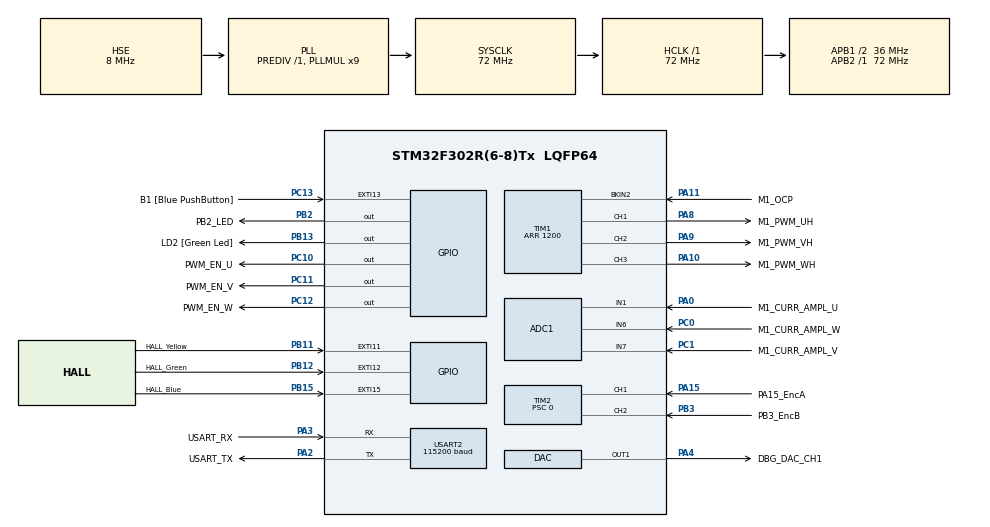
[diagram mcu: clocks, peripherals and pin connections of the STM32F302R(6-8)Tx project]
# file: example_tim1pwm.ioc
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ADC1.ClockPrescaler=ADC_CLOCK_SYNC_PCLK_DIV1
ADC1.ContinuousConvMode=DISABLE
ADC1.DMAContinuousRequests=DISABLE
ADC1.DataAlign=ADC_DATAALIGN_LEFT
ADC1.EOCSelection=ADC_EOC_SEQ_CONV
ADC1.EnableRegularConversion=DISABLE
ADC1.ExternalTrigInjecConv=ADC_EXTERNALTRIGINJECCONV_T1_TRGO
ADC1.InjNumberOfConversion=3
ADC1.InjectedChannel-3\#ChannelInjectedConversion=ADC_CHANNEL_1
ADC1.InjectedChannel-4\#ChannelInjectedConversion=ADC_CHANNEL_7
ADC1.InjectedChannel-5\#ChannelInjectedConversion=ADC_CHANNEL_6
ADC1.InjectedOffset-3\#ChannelInjectedConversion=0
ADC1.InjectedOffset-4\#ChannelInjectedConversion=0
ADC1.InjectedOffset-5\#ChannelInjectedConversion=0
ADC1.InjectedOffsetNumber-3\#ChannelInjectedConversion=ADC_OFFSET_NONE
ADC1.InjectedOffsetNumber-4\#ChannelInjectedConversion=ADC_OFFSET_NONE
ADC1.InjectedOffsetNumber-5\#ChannelInjectedConversion=ADC_OFFSET_NONE
ADC1.InjectedRank-3\#ChannelInjectedConversion=1
ADC1.InjectedRank-4\#ChannelInjectedConversion=2
ADC1.InjectedRank-5\#ChannelInjectedConversion=3
ADC1.InjectedSamplingTime-3\#ChannelInjectedConversion=ADC_SAMPLETIME_19CYCLES_5
ADC1.InjectedSamplingTime-4\#ChannelInjectedConversion=ADC_SAMPLETIME_19CYCLES_5
ADC1.InjectedSamplingTime-5\#ChannelInjectedConversion=ADC_SAMPLETIME_19CYCLES_5
ADC1.InjectedSamplingTimeOPAMP-3\#ChannelInjectedConversion=ADC_SAMPLETIME_61CYCLES_5
ADC1.InjectedSamplingTimeOPAMP-4\#ChannelInjectedConversion=ADC_SAMPLETIME_61CYCLES_5
ADC1.InjectedSamplingTimeOPAMP-5\#ChannelInjectedConversion=ADC_SAMPLETIME_61CYCLES_5
ADC1.Overrun=ADC_OVR_DATA_PRESERVED
ADC1.QueueInjectedContext=DISABLE
ADC1.Rank1_Channel=ADC_CHANNEL_1
ADC1.Rank2_Channel=ADC_CHANNEL_7
ADC1.Rank3_Channel=ADC_CHANNEL_6
ADC1.Rank4_Channel=ADC_CHANNEL_1
ADC1.SubFamily=STM32F302x8
ADC1.master=1
DAC.DAC_OutputBuffer=DAC_OUTPUTBUFFER_DISABLE
DAC.DAC_Trigger=DAC_TRIGGER_SOFTWARE
Mcu.Family=STM32F3
Mcu.Name=STM32F302R(6-8)Tx
Mcu.Package=LQFP64
NVIC.ADC1_IRQn=true\:0\:0\:true\:false\:true\:true\:true
NVIC.EXTI15_10_IRQn=true\:0\:0\:true\:false\:true\:true\:true
NVIC.PriorityGroup=NVIC_PRIORITYGROUP_3
NVIC.TIM1_BRK_TIM15_IRQn=true\:0\:0\:true\:false\:true\:true\:true
NVIC.TIM1_UP_TIM16_IRQn=true\:0\:0\:false\:false\:true\:true\:true
NVIC.TIM2_IRQn=true\:0\:0\:true\:false\:true\:true\:true
PA0.GPIO_Label=M1_CURR_AMPL_U
PA0.Mode=IN1-Single-Ended
PA0.Signal=ADC1_IN1
PA10.GPIO_Label=M1_PWM_WH
PA10.GPIO_PuPd=GPIO_PULLDOWN
PA10.GPIO_Speed=GPIO_SPEED_FREQ_HIGH
PA10.Signal=S_TIM1_CH3
PA11.GPIO_Label=M1_OCP
PA11.GPIO_PuPd=GPIO_PULLUP
PA11.Mode=Activate-Break-Input-2
PA11.Signal=TIM1_BKIN2
PA13.GPIO_Label=TMS
PA13.Signal=SYS_JTMS-SWDIO
PA14.GPIO_Label=TCK
PA14.Signal=SYS_JTCK-SWCLK
PA15.GPIO_Label=PA15_EncA
PA15.Signal=S_TIM2_CH1_ETR
PA2.GPIO_Label=USART_TX
PA2.GPIO_Mode=GPIO_MODE_AF_PP
PA2.GPIO_PuPd=GPIO_NOPULL
PA2.GPIO_Speed=GPIO_SPEED_FREQ_LOW
PA2.Mode=Asynchronous
PA2.Signal=USART2_TX
PA3.GPIO_Label=USART_RX
PA3.GPIO_Mode=GPIO_MODE_AF_PP
PA3.GPIO_PuPd=GPIO_NOPULL
PA3.GPIO_Speed=GPIO_SPEED_FREQ_LOW
PA3.Mode=Asynchronous
PA3.Signal=USART2_RX
PA4.GPIO_Label=DBG_DAC_CH1
PA4.Signal=COMP_DAC1_group
PA8.GPIO_Label=M1_PWM_UH
PA8.GPIO_PuPd=GPIO_PULLDOWN
PA8.GPIO_Speed=GPIO_SPEED_FREQ_HIGH
PA8.Signal=S_TIM1_CH1
PA9.GPIO_Label=M1_PWM_VH
PA9.GPIO_PuPd=GPIO_PULLDOWN
PA9.GPIO_Speed=GPIO_SPEED_FREQ_HIGH
PA9.Signal=S_TIM1_CH2
PB11.GPIO_Label=HALL_Yellow
PB11.GPIO_ModeDefaultEXTI=GPIO_MODE_IT_RISING_FALLING
PB11.Signal=GPXTI11
PB12.GPIO_Label=HALL_Green
PB12.GPIO_ModeDefaultEXTI=GPIO_MODE_IT_RISING_FALLING
PB12.GPIO_PuPd=GPIO_NOPULL
PB12.Signal=GPXTI12
PB13.GPIO_Label=LD2 [Green Led]
PB13.Signal=GPIO_Output
PB15.GPIO_Label=HALL_Blue
PB15.GPIO_ModeDefaultEXTI=GPIO_MODE_IT_RISING_FALLING
PB15.Signal=GPXTI15
PB2.GPIO_Label=PB2_LED
PB2.Signal=GPIO_Output
PB3.GPIO_Label=PB3_EncB
PB3.Signal=S_TIM2_CH2
PC0.GPIO_Label=M1_CURR_AMPL_W
PC0.Signal=ADCx_IN6
PC1.GPIO_Label=M1_CURR_AMPL_V
PC1.GPIO_Mode=GPIO_MODE_ANALOG
PC1.Signal=ADCx_IN7
PC10.GPIO_Label=PWM_EN_U
PC10.GPIO_Speed=GPIO_SPEED_FREQ_HIGH
PC10.Signal=GPIO_Output
PC11.GPIO_Label=PWM_EN_V
PC11.GPIO_Speed=GPIO_SPEED_FREQ_HIGH
PC11.Signal=GPIO_Output
PC12.GPIO_Label=PWM_EN_W
PC12.GPIO_Speed=GPIO_SPEED_FREQ_HIGH
PC12.Signal=GPIO_Output
PC13.GPIO_Label=B1 [Blue PushButton]
PC13.GPIO_ModeDefaultEXTI=GPIO_MODE_IT_FALLING
PC13.Signal=GPXTI13
PC14\ -\ OSC32_IN.Signal=RCC_OSC32_IN
PC15\ -\ OSC32_OUT.Signal=RCC_OSC32_OUT
PF0-OSC_IN.Mode=HSE-External-Oscillator
PF0-OSC_IN.Signal=RCC_OSC_IN
PF1-OSC_OUT.Mode=HSE-External-Oscillator
PF1-OSC_OUT.Signal=RCC_OSC_OUT
ProjectManager.HeapSize=0x200
ProjectManager.StackSize=0x400
ProjectManager.TargetToolchain=STM32CubeIDE
RCC.AHBFreq_Value=72000000
RCC.APB1CLKDivider=RCC_HCLK_DIV2
RCC.APB1Freq_Value=36000000
RCC.APB1TimFreq_Value=72000000
RCC.APB2Freq_Value=72000000
RCC.APB2TimFreq_Value=72000000
RCC.CortexFreq_Value=72000000
RCC.HCLKFreq_Value=72000000
RCC.HSE_VALUE=8000000
RCC.HSI_VALUE=8000000
RCC.LSE_VALUE=32768
RCC.PLLM=8
RCC.PLLMUL=RCC_PLL_MUL9
RCC.PLLN=336
RCC.PLLP=RCC_PLLP_DIV4
RCC.PLLQ=7
RCC.PLLSourceVirtual=RCC_PLLSOURCE_HSE
RCC.SYSCLKFreq_VALUE=72000000
RCC.SYSCLKSourceVirtual=RCC_SYSCLKSOURCE_PLLCLK
RCC.USBFreq_Value=72000000
SH.ADCx_IN6.0=ADC1_IN6,IN6-Single-Ended
SH.ADCx_IN7.0=ADC1_IN7,IN7-Single-Ended
SH.COMP_DAC1_group.0=DAC_OUT1,DAC_OUT1
SH.S_TIM1_CH1.0=TIM1_CH1,PWM Generation1 CH1
SH.S_TIM1_CH2.0=TIM1_CH2,PWM Generation2 CH2
SH.S_TIM1_CH3.0=TIM1_CH3,PWM Generation3 CH3
SH.S_TIM2_CH1_ETR.0=TIM2_CH1,Encoder_Interface
SH.S_TIM2_CH2.0=TIM2_CH2,Encoder_Interface
TIM1.AutoReloadPreload=TIM_AUTORELOAD_PRELOAD_DISABLE
TIM1.Break2Filter=7
TIM1.Break2Polarity=TIM_BREAK2POLARITY_LOW
TIM1.Channel-PWM\ Generation1\ CH1=TIM_CHANNEL_1
TIM1.Channel-PWM\ Generation2\ CH2=TIM_CHANNEL_2
TIM1.Channel-PWM\ Generation3\ CH3=TIM_CHANNEL_3
TIM1.Channel-PWM\ Generation4\ No\ Output=TIM_CHANNEL_4
TIM1.ClockDivision=TIM_CLOCKDIVISION_DIV1
TIM1.CounterMode=TIM_COUNTERMODE_CENTERALIGNED1
TIM1.LockLevel=TIM_LOCKLEVEL_1
TIM1.OCMode_PWM-PWM\ Generation4\ No\ Output=TIM_OCMODE_PWM2
TIM1.Period=1200
TIM1.Pulse-PWM\ Generation1\ CH1=1200
TIM1.Pulse-PWM\ Generation2\ CH2=1200
TIM1.Pulse-PWM\ Generation3\ CH3=1200
TIM1.Pulse-PWM\ Generation4\ No\ Output=1199
TIM1.RepetitionCounter=1
TIM1.TIM_MasterOutputTrigger=TIM_TRGO_OC4REF
TIM2.AutoReloadPreload=TIM_AUTORELOAD_PRELOAD_ENABLE
TIM2.CounterMode=TIM_COUNTERMODE_UP
TIM2.EncoderMode=TIM_ENCODERMODE_TI12
TIM2.IC1Filter=7
TIM2.IC2Filter=7
TIM2.IC2Polarity=TIM_ICPOLARITY_FALLING
TIM2.Period=3199
TIM2.Prescaler=0
TIM6.AutoReloadPreload=TIM_AUTORELOAD_PRELOAD_ENABLE
TIM6.Period=30000
USART2.BaudRate=115200
USART2.VirtualMode-Asynchronous=VM_ASYNC
VP_TIM1_VS_ClockSourceITR.Mode=TriggerSource_ITR1
VP_TIM1_VS_ControllerModeTrigger.Mode=Trigger Mode
VP_TIM1_VS_no_output4.Mode=PWM Generation4 No Output
VP_TIM6_VS_ClockSourceINT.Mode=Enable_Timer
board=NUCLEO-F302R8

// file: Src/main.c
/* USER CODE BEGIN Header */
/**
  ******************************************************************************
  * @file           : main.c
  * @brief          : Main program body
  ******************************************************************************
  * @attention
  *
  * <h2><center>&copy; Copyright (c) 2020 STMicroelectronics.
  * All rights reserved.</center></h2>
  *
  * This software component is licensed by ST under BSD 3-Clause license,
  * the "License"; You may not use this file except in compliance with the
  * License. You may obtain a copy of the License at:
  *                        opensource.org/licenses/BSD-3-Clause
  *
  ******************************************************************************
  */
//11th Jan - replaced PA15/PB5 (EncA/EncB) GPIO interrupts with TIM2 Encoder code.

/* USER CODE END Header */
#include "main.h"

/* USER CODE BEGIN Includes */
#include <stdio.h>
#include <string.h>
#include <math.h>
/* USER CODE END Includes */

/* USER CODE BEGIN PD */
#define USER_TIM_PERIOD 1200//57600// 600//1200
#define M_PI 3.14159265358979323846
#define I_MAX 300
#define ADC_CHANNELS 3
#define RISING 1
#define FALLING 0
#define HIGH 1
#define LOW 0
#define DEGREE_120 85
#define DEGREE_120_HIRES 21845//21760 //(85*256)
#define ADC_TIMEOUT 10e-6 //timeout for adc conversion event. Be mindful that we have a PWM freq of 30kHz, which is 33us between pulses.
//motor modes
#define STOPPED 0
#define TRACKING 1
#define DOING 2 //this badly named mode implies that the motor is tracking to a list of encoder positions, simulating engine operation
#define INIT 3 //initialise motor zero position using encoder and hall sensors

#define ADC_HALF_RANGE 32768
#define VCC_DIV_2 1.65
#define AMP_V_BIAS 1.559
#define AMP_GAIN 1.528

//#define ENC_TO_THETA 0.001963495 //for a single pole pair
#define ENC_TO_THETA 0.002748894 //for 14 pole pairs
/* USER CODE END PD */

ADC_HandleTypeDef hadc1;

DAC_HandleTypeDef hdac;

TIM_HandleTypeDef htim1;
TIM_HandleTypeDef htim2;
TIM_HandleTypeDef htim6;

UART_HandleTypeDef huart2;

void SystemClock_Config(void);
static void MX_GPIO_Init(void);
static void MX_TIM1_Init(void);
static void MX_USART2_UART_Init(void);
static void MX_ADC1_Init(void);
static void MX_TIM2_Init(void);
static void MX_DAC_Init(void);
static void MX_TIM6_Init(void);
/* USER CODE BEGIN PFP */
void motor_error(void);
void motor_disable(void);
void motor_enable(void);
void motor_init(void);
void av_to_current(void);
void motor_move(void);
void motor_move_foc(void);
void current_meas(void);
void motor_current_cal(void);

//HALL State:
enum hall_states {S1=1, S2, S3, S4, S5, S6};
char hall_state = -1; // i.e. not set yet

void motor_set_duty(void);
void motor_set_duty2(void); //setting the PWM duty based on sin lookup table
int MOTOR_MODE = STOPPED;
volatile int which_half = 0;
int average = 0;
int average1 = 0;
int average2 = 0;
int average3 = 0;
int av[3];
int duty = 0;
int I_qui = 0;
float phaseindex = M_PI;
int dutyU = 0;
int dutyV = 0;
int dutyW = 0;
int dutycalpoint_low = 0;
int dutycalpoint_high = 0;
int I_mA = 0;
int err_max_current = 0;
int err_no_motor = 0;
int curr[3];
float av_curr = 0;
int wanted_encoder_count = 0;
float vel = 0.0;

//sine array values lookup table: LEN = 256
//volatile unsigned char sine_array_index = 0;

//unsigned char sine_array[256]=
//{133,139,144,149,155,160,165,170,175,180,185,189,194,198,203,207,211,214,218,221,225,228,231,233,
//236,238,241,243,244,246,248,249,250,251,252,253,254,254,254,255,255,255,255,255,255,255,254,254,
//254,254,253,253,252,252,252,252,251,251,251,251,250,250,250,250,250,250,250,251,251,251,251,252,
//252,252,252,253,253,254,254,254,254,255,255,255,255,255,255,255,254,254,254,253,252,251,250,249,
//248,246,244,243,241,238,236,233,231,228,225,221,218,214,211,207,203,198,194,189,185,180,175,170,
//165,160,155,149,144,139,133,128,123,117,112,107,101,96,91,86,81,76,71,67,62,58,53,49,45,42,38,
//35,31,28,25,23,20,18,15,13,12,10,8,7,6,5,4,3,2,2,2,1,1,1,1,1,1,1,2,2,2,2,3,3,4,4,4,4,5,5,5,5,6,
//6,6,6,6,6,6,5,5,5,5,4,4,4,4,3,3,2,2,2,2,1,1,1,1,1,1,1,2,2,2,3,4,5,6,7,8,10,12,13,15,18,20,23,25,
//28,31,35,38,42,45,49,53,58,62,67,71,76,81,86,91,96,101,107,112,117,123,128};

short int sine_array[1024] = {0,3,7,11,14,18,22,25,29,33,36,40,44,47,51,55,58,62,66,69,73,77,80,84,88,
		91,95,98,102,106,109,113,117,120,124,127,131,135,138,142,145,149,152,156,160,163,167,170,174,
		177,181,184,188,191,195,198,202,205,209,212,215,219,222,226,229,233,236,239,243,246,249,253,
		256,259,263,266,269,273,276,279,282,286,289,292,295,298,302,305,308,311,314,317,321,324,327,
		330,333,336,339,342,345,348,351,354,357,360,363,366,369,372,374,377,380,383,386,389,391,394,
		397,400,402,405,408,411,413,416,419,421,424,426,429,432,434,437,439,442,444,447,449,451,454,
		456,459,461,463,466,468,470,473,475,477,479,481,484,486,488,490,492,494,496,498,500,502,504,
		506,508,510,512,514,516,518,520,522,523,525,527,529,530,532,534,535,537,539,540,542,543,545,
		547,548,550,551,552,554,555,557,558,559,561,562,563,564,566,567,568,569,570,572,573,574,575,
		576,577,578,579,580,581,582,582,583,584,585,586,587,587,588,589,589,590,591,591,592,592,593,
		594,594,595,595,595,596,596,597,597,597,598,598,598,598,599,599,599,599,599,599,599,599,600,
		600,599,599,599,599,599,599,599,599,598,598,598,598,597,597,597,596,596,595,595,595,594,594,
		593,592,592,591,591,590,589,589,588,587,587,586,585,584,583,582,582,581,580,579,578,577,576,
		575,574,573,572,570,569,568,567,566,564,563,562,561,559,558,557,555,554,552,551,550,548,547,
		545,543,542,540,539,537,535,534,532,530,529,527,525,523,522,520,518,516,514,512,510,508,506,
		504,502,500,498,496,494,492,490,488,486,484,481,479,477,475,473,470,468,466,463,461,459,456,
		454,451,449,447,444,442,439,437,434,432,429,426,424,421,419,416,413,411,408,405,402,400,397,
		394,391,389,386,383,380,377,374,372,369,366,363,360,357,354,351,348,345,342,339,336,333,330,
		327,324,321,317,314,311,308,305,302,298,295,292,289,286,282,279,276,273,269,266,263,259,256,
		253,249,246,243,239,236,233,229,226,222,219,215,212,209,205,202,198,195,191,188,184,181,177,
		174,170,167,163,160,156,152,149,145,142,138,135,131,127,124,120,117,113,109,106,102,98,95,91,
		88,84,80,77,73,69,66,62,58,55,51,47,44,40,36,33,29,25,22,18,14,11,7,3,0,-4,-8,-12,-15,-19,-23,
		-26,-30,-34,-37,-41,-45,-48,-52,-56,-59,-63,-67,-70,-74,-78,-81,-85,-89,-92,-96,-99,-103,-107,
		-110,-114,-118,-121,-125,-128,-132,-136,-139,-143,-146,-150,-153,-157,-161,-164,-168,-171,-175,
		-178,-182,-185,-189,-192,-196,-199,-203,-206,-210,-213,-216,-220,-223,-227,-230,-234,-237,-240,
		-244,-247,-250,-254,-257,-260,-264,-267,-270,-274,-277,-280,-283,-287,-290,-293,-296,-299,-303,
		-306,-309,-312,-315,-318,-322,-325,-328,-331,-334,-337,-340,-343,-346,-349,-352,-355,-358,-361,
		-364,-367,-370,-373,-375,-378,-381,-384,-387,-390,-392,-395,-398,-401,-403,-406,-409,-412,-414,
		-417,-420,-422,-425,-427,-430,-433,-435,-438,-440,-443,-445,-448,-450,-452,-455,-457,-460,-462,
		-464,-467,-469,-471,-474,-476,-478,-480,-482,-485,-487,-489,-491,-493,-495,-497,-499,-501,-503,
		-505,-507,-509,-511,-513,-515,-517,-519,-521,-523,-524,-526,-528,-530,-531,-533,-535,-536,-538,
		-540,-541,-543,-544,-546,-548,-549,-551,-552,-553,-555,-556,-558,-559,-560,-562,-563,-564,-565,
		-567,-568,-569,-570,-571,-573,-574,-575,-576,-577,-578,-579,-580,-581,-582,-583,-583,-584,-585,
		-586,-587,-588,-588,-589,-590,-590,-591,-592,-592,-593,-593,-594,-595,-595,-596,-596,-596,-597,
		-597,-598,-598,-598,-599,-599,-599,-599,-600,-600,-600,-600,-600,-600,-600,-600,-600,-600,-600,
		-600,-600,-600,-600,-600,-600,-600,-599,-599,-599,-599,-598,-598,-598,-597,-597,-596,-596,-596,
		-595,-595,-594,-593,-593,-592,-592,-591,-590,-590,-589,-588,-588,-587,-586,-585,-584,-583,-583,
		-582,-581,-580,-579,-578,-577,-576,-575,-574,-573,-571,-570,-569,-568,-567,-565,-564,-563,-562,
		-560,-559,-558,-556,-555,-553,-552,-551,-549,-548,-546,-544,-543,-541,-540,-538,-536,-535,-533,
		-531,-530,-528,-526,-524,-523,-521,-519,-517,-515,-513,-511,-509,-507,-505,-503,-501,-499,-497,
		-495,-493,-491,-489,-487,-485,-482,-480,-478,-476,-474,-471,-469,-467,-464,-462,-460,-457,-455,
		-452,-450,-448,-445,-443,-440,-438,-435,-433,-430,-427,-425,-422,-420,-417,-414,-412,-409,-406,
		-403,-401,-398,-395,-392,-390,-387,-384,-381,-378,-375,-373,-370,-367,-364,-361,-358,-355,-352,
		-349,-346,-343,-340,-337,-334,-331,-328,-325,-322,-318,-315,-312,-309,-306,-303,-299,-296,-293,
		-290,-287,-283,-280,-277,-274,-270,-267,-264,-260,-257,-254,-250,-247,-244,-240,-237,-234,-230,
		-227,-223,-220,-216,-213,-210,-206,-203,-199,-196,-192,-189,-185,-182,-178,-175,-171,-168,-164,
		-161,-157,-153,-150,-146,-143,-139,-136,-132,-128,-125,-121,-118,-114,-110,-107,-103,-99,-96,-92,
		-89,-85,-81,-78,-74,-70,-67,-63,-59,-56,-52,-48,-45,-41,-37,-34,-30,-26,-23,-19,-15,-12,-8,-4,0
};

////for motor tracking to simulate engine rotation:
//int pos_counter = 0;

//int lookup_encoder_pos[] = {0, -100, -400, -500, -750, -1000};
//int LEN = 670;
//int cycles = 0; //for debugging, number of rotations to do before stopping
//float max_delta_phase = 0.024; //radians
//float delta_t = 1.49e-3; // [s] (1/671)
//float delta_angle = (2*M_PI)/3200;

//debugging variables:
//int arr_i[I_MAX];
//int arr_adc[I_MAX];
//int arr_adc1[I_MAX];
//int arr_adc2[I_MAX];
//int arr_adc3[I_MAX];
//int arr_duty[I_MAX];
//int arr_ImA[I_MAX];
/* USER CODE END PFP */

/* USER CODE BEGIN 0 */
int dummyphaseindex = 0;
int sine_idx = 0;
int phaseU = 0;
int phaseV = 0;
int phaseW = 0;

unsigned int encoder_time = 0;
unsigned int encoder_ticks = 0;
unsigned int encoder_rotations = 0;

volatile unsigned short cur1 = 0;
volatile unsigned short cur2 = 0;
volatile unsigned short cur3 = 0;

float v1, v2, v3;
float curr_fdbk1, curr_fdbk2, curr_fdbk3;
float tmp = 0;
float curr_alpha, curr_beta;
//float curr_alpha2, curr_beta2;
//float curr_alpha3, curr_beta3;
//float curr_alpha4, curr_beta4;
//float curr_alpha5, curr_beta5;
//float curr_alpha6, curr_beta6;
float curr_d, curr_q;
//float curr_d2, curr_q2;
//float curr_d3, curr_q3;
//float curr_d4, curr_q4;
//float curr_d5, curr_q5;
//float curr_d6, curr_q6;
float theta;
float Iu_QUIESCENT_mA, Iv_QUIESCENT_mA, Iw_QUIESCENT_mA;

//PI controller for Iq:
float sum_PI_Iq = 0;
float Iq_Kp = 0.1;//576;
float Iq_Ki = 0.01;
float Iq_Kc = 0.1;
float PI_Vq = 0;
float Iq_ref = 200;

//PI controller for Id:
float sum_PI_Id = 0;
float Id_Kp = 0.1;//576;
float Id_Ki = 0.01;
float Id_Kc = 0.1;
float PI_Vd = 0;
float Id_ref = 0;

//PI controller for speed:
float sum_PI_speed = 0;
float speed_Kp = 0.24;
float speed_Ki = 0.24;
float speed_Kc = 0.5;
float PI_speed = 0;
float speed_ref = 0.5; //Units?

//inverse transforms from Vq/Vd to Va/b/c:
float Va, Vb, Vc;

//debug:
float max_PI_Vd = 0;
float min_PI_Vd = 0;
float max_PI_Vq = 0;
float min_PI_Vq = 0;

float max_Va = 0;
float min_Va = 0;
float max_Vb = 0;
float min_Vb = 0;
float max_Vc = 0;
float min_Vc = 0;

//speed measurements:
int old_pos, new_pos;
float speed = 0;
idx = 0;

void current_meas(void) { //converting ADC samples into curr_fdbk measurements
	v1 = (float)cur1 / ADC_HALF_RANGE * VCC_DIV_2;
	curr_fdbk1 = (float)(v1 - AMP_V_BIAS) / AMP_GAIN * 1000 - Iu_QUIESCENT_mA;
//
	v2 = (float)cur2 / ADC_HALF_RANGE * VCC_DIV_2;
	curr_fdbk2 = (float)(v2 - AMP_V_BIAS) / AMP_GAIN * 1000 - Iv_QUIESCENT_mA;

	v3 = (float)cur3 / ADC_HALF_RANGE * VCC_DIV_2;
	curr_fdbk3 = (float)(v3 - AMP_V_BIAS) / AMP_GAIN * 1000 - Iw_QUIESCENT_mA;

	tmp = curr_fdbk1 + curr_fdbk2 + curr_fdbk3;

	//1 - AB
	curr_alpha = curr_fdbk1;
	curr_beta = 0.57735 * curr_fdbk1 + (0.57735 * curr_fdbk3 * 2);
//	//2 - AC
//	curr_alpha2 = curr_fdbk1;
//	curr_beta2 = 0.57735 * curr_fdbk1 + (0.57735 * curr_fdbk3 * 2);
//	//3 - BC
//	curr_alpha3 = curr_fdbk2;
//	curr_beta3 = 0.57735 * curr_fdbk2 + (0.57735 * curr_fdbk3 * 2);
//	//4 - BA
//	curr_alpha4 = curr_fdbk2;
//	curr_beta4 = 0.57735 * curr_fdbk2 + (0.57735 * curr_fdbk1 * 2);
//	//5 - CA
//	curr_alpha5 = curr_fdbk3;
//	curr_beta5 = 0.57735 * curr_fdbk3 + (0.57735 * curr_fdbk1 * 2);
//	//6 - CB
//	curr_alpha6 = curr_fdbk3;
//	curr_beta6 = 0.57735 * curr_fdbk3 + (0.57735 * curr_fdbk2 * 2);

	//theta = TIM2->CNT * ENC_TO_THETA;
	//normalise theta to between 0 and 2*pi
	theta = fmod((float)TIM2->CNT,(float)228.571)*0.0274889;

	//1
	curr_d = curr_alpha * cos(theta) + curr_beta * sin(theta);
	curr_q = -curr_alpha*sin(theta) + curr_beta*cos(theta);
//	//2
//	curr_d2 = curr_alpha2 * cos(theta) + curr_beta2 * sin(theta);
//	curr_q2 = -curr_alpha2*sin(theta) + curr_beta2*cos(theta);
//	//3
//	curr_d3 = curr_alpha3 * cos(theta) + curr_beta3 * sin(theta);
//	curr_q3 = -curr_alpha3*sin(theta) + curr_beta3*cos(theta);
//	//4
//	curr_d4 = curr_alpha4 * cos(theta) + curr_beta4 * sin(theta);
//	curr_q4 = -curr_alpha4*sin(theta) + curr_beta4*cos(theta);
//	//5
//	curr_d5 = curr_alpha5 * cos(theta) + curr_beta5 * sin(theta);
//	curr_q5 = -curr_alpha5*sin(theta) + curr_beta5*cos(theta);
//	//6
//	curr_d6 = curr_alpha6 * cos(theta) + curr_beta6 * sin(theta);
//	curr_q6 = -curr_alpha6*sin(theta) + curr_beta6*cos(theta);
//
//	if (fabs(curr_q) > 0.5) {
//		return;
//	}
//	else {
		if (MOTOR_MODE == INIT) {//find curr_q = 0, i.e. initialise the position of the motor
			TIM2->CNT = 0;
			Iu_QUIESCENT_mA = curr_fdbk1;
			Iv_QUIESCENT_mA = curr_fdbk2;
			Iw_QUIESCENT_mA = curr_fdbk3;
			new_pos = 0;
			old_pos = 0;
			MOTOR_MODE = TRACKING;
		}
//		return;
//	}
}

//void motor_move(void) {
//
//	int n = 64;
//	current_meas();
//
//	//this works but needs the sine array which is a full "bumpy" sine waveform
////	if (dummyphaseindex % n == 0) {
////		motor_set_duty2();
////		current_meas();
////		sine_array_index += 1;
////	}
//
//	motor_set_duty2();
//	sine_idx += n;
//
//	dummyphaseindex++;
//	if (dummyphaseindex > 15360*3) { //65535*3) {
//		motor_disable();
//		MOTOR_MODE = STOPPED;
//	}
//
//}

float PI_Controller_Iqref(void) {
	float err = Iq_ref - curr_q;//fmod(Iq_ref - curr_q,500); //need to slew rate limit this - add max rate of change
	float u = sum_PI_Iq + Iq_Kp * err;
	float outmax = 4000;// 12000;
	float outmin = -4000;//-12000;
	float out = 0;
	float excess = 0;

	if (u > outmax) {
		out = outmax;
	}
	else if (u < outmin) {
		out = outmin;
	}
	else {
		out = u;
	}
	excess = u - out;
	sum_PI_Iq += Iq_Ki*err - Iq_Kc*excess;
	return sum_PI_Iq;
}

float PI_Controller_Idref(void) {
	float err = Id_ref - curr_d; //need to slew rate limit this - add max rate of change
	float u = sum_PI_Id + Id_Kp * err;
	float outmax = 4000;//12000;
	float outmin = -4000;//-12000;
	float out = 0;
	float excess = 0;

	if (u > outmax) {
		out = outmax;
	}
	else if (u < outmin) {
		out = outmin;
	}
	else {
		out = u;
	}
	excess = u - out;
	sum_PI_Id += Id_Ki*err - Id_Kc*excess;
	return sum_PI_Id;
}

float PI_Controller_Speed_ref(void) {
	//float err = speed_ref - speed; //need to slew rate limit this - add max rate of change
	//float err = (speed_ref - TIM2->CNT);// fmod((speed_ref - TIM2->CNT),50);
	float err = (speed_ref - fmod((float)TIM2->CNT,(float)228.571)*0.0274889);
	float u = sum_PI_speed + speed_Kp * err;
	float outmax = 3.14;
	float outmin = -3.14;
	float out = 0;
	float excess = 0;

	if (u > outmax) {
		out = outmax;
	}
	else if (u < outmin) {
		out = outmin;
	}
	else {
		out = u;
	}
	excess = u - out;
	sum_PI_speed += speed_Ki*err - speed_Kc*excess;
	return sum_PI_speed;
}

void inverse_Clarke_Park(float Vq, float Vd) {
	float V_alpha = Vd * cos(theta) - Vq * sin(theta);
	float V_beta = Vd * sin(theta) + Vq * cos(theta);

	Va = V_alpha;
	Vb = (-V_alpha + sqrt(3)*V_beta)/2;
	Vc = (-V_alpha - sqrt(3)*V_beta)/2;
}

void motor_move_foc(void) {
	//int n = 10;
	current_meas();

	//if in "speed" control, then enable this block
//	if (dummyphaseindex % 240 == 0) {//this is the outer FOC loop for velocity calculations
//		//HAL_GPIO_TogglePin(PB2_LED_GPIO_Port, PB2_LED_Pin);
//		//velocity calc:
//		new_pos = TIM2->CNT;
//		speed = (float)(new_pos - old_pos);
//		speed *= 0.98175;//(TIM2->CCR2-TIM2->CCR1);
//		speed = TIM2->CNT;
//		old_pos = new_pos;
//		if (idx >= 0 && idx < 40) {
//			speed_ref += 10;
//			idx++;
//		}
//		else if (idx >= 40 && idx < 80) {
//			speed_ref -= 10;
//			idx++;
//		}
//		else {
//			idx = 0;
//		}
//	}
//	PI_speed = PI_Controller_Speed_ref();
//	Iq_ref = PI_speed;
	PI_Vq = PI_Controller_Iqref();

//	if (PI_Vq > max_PI_Vq) {
//		max_PI_Vq = PI_Vq;
//	}
//	else if (PI_Vq < min_PI_Vq) {
//		min_PI_Vq = PI_Vq;
//	}
//
	PI_Vd = PI_Controller_Idref();
//	if (PI_Vd > max_PI_Vd) {
//		max_PI_Vd = PI_Vd;
//	}
//	else if (PI_Vd < min_PI_Vd) {
//		min_PI_Vd = PI_Vd;
//	}

	inverse_Clarke_Park(PI_Vq,PI_Vd); //sets values for: Va/Vb/Vc
//	//a phase
//	if (Va > max_Va){
//		max_Va = Va;
//	}
//	else if (Va < min_Va) {
//		min_Va = Va;
//	}
//	//b phase
//	if (Vb > max_Vb){
//		max_Vb = Vb;
//	}
//	else if (Vb < min_Vb) {
//		min_Vb = Vb;
//	}
//	//c phase
//	if (Vc > max_Vc){
//		max_Vc = Vc;
//	}
//	else if (Vc < min_Vc) {
//		min_Vc = Vc;
//	}

	//convert voltages Va/b/c to PWM phases:
	Va += 16384;
	Va *= 0.03662;

	Vb += 16384;
	Vb *= 0.03662;

	Vc += 16384;
	Vc *= 0.03662;

//	if (TIM2->CNT == 3199) { //need to debounce this - get too many rotations
//	   encoder_time += HAL_GetTick();
//	   encoder_ticks = TIM2->CNT;
//	   encoder_rotations++;
//	}

	motor_set_duty3();
//	motor_set_duty2();
//	sine_idx += n;

	dummyphaseindex++;
	if (dummyphaseindex > 49152*6) { //65535*3) {
		motor_disable();
		MOTOR_MODE = STOPPED;
	}
}

void motor_set_duty3(void)
{
	dutyU = (int) Va;
	dutyV = (int) Vb;
	dutyW = (int) Vc;

	TIM1->CCR1 = dutyU;
	TIM1->CCR2 = dutyV;
	TIM1->CCR3 = dutyW;
}

void motor_set_duty2(void)
{
//	dutyU = (USER_TIM_PERIOD/2) + 1*(phaseU - 128);
//	dutyV = (USER_TIM_PERIOD/2) + 1*(phaseV - 128);
//	dutyW = (USER_TIM_PERIOD/2) + 1*(phaseW - 128);
//	unsigned char A = (sine_idx + DEGREE_120)%255;
//	unsigned char B = sine_idx%255;
//	unsigned char C = (sine_idx - DEGREE_120)%255;

	unsigned short int A = ((sine_idx + DEGREE_120_HIRES) >> 6);//8;
	unsigned short int B = ((sine_idx) >> 6);//8;
	unsigned short int C = ((sine_idx - DEGREE_120_HIRES) >> 6);//8;

	int idxA = A % 1024;
	int idxB = B % 1024;
	int idxC = C % 1024;
//	dutyU = (USER_TIM_PERIOD/2) + 1.0*(sine_array[A]-128); //sine_array from -128 to 128
//	dutyV = (USER_TIM_PERIOD/2) + 1.0*(sine_array[B]-128);
//	dutyW = (USER_TIM_PERIOD/2) + 1.0*(sine_array[C]-128);

	//new sine array
	dutyU = (USER_TIM_PERIOD/2) + 0.25*(sine_array[idxA]); //sine_array from -600 to 600
	dutyV = (USER_TIM_PERIOD/2) + 0.25*(sine_array[idxB]);
	dutyW = (USER_TIM_PERIOD/2) + 0.25*(sine_array[idxC]);

	//Write motor phases:
	TIM1->CCR1 = dutyU;
	TIM1->CCR2 = dutyV;
	TIM1->CCR3 = dutyW;
}

void motor_current_cal(void) {
	dutyU = (USER_TIM_PERIOD/2);
	dutyV = (USER_TIM_PERIOD/2);
	dutyW = (USER_TIM_PERIOD/2);

	//Write motor phases:
	TIM1->CCR1 = dutyU;
	TIM1->CCR2 = dutyV;
	TIM1->CCR3 = dutyW;

	current_meas();
}

void motor_enable(void) {

	HAL_GPIO_WritePin(PWM_EN_U_GPIO_Port, PWM_EN_U_Pin, GPIO_PIN_SET);
	HAL_GPIO_WritePin(PWM_EN_V_GPIO_Port, PWM_EN_V_Pin, GPIO_PIN_SET);
	HAL_GPIO_WritePin(PWM_EN_W_GPIO_Port, PWM_EN_W_Pin, GPIO_PIN_SET);
	//HAL_GPIO_WritePin(DIAG_EN_GPIO_Port, DIAG_EN_Pin, GPIO_PIN_SET);
}

void motor_disable(void) {
	dutyU = (USER_TIM_PERIOD/2);
	dutyV = (USER_TIM_PERIOD/2);
	dutyW = (USER_TIM_PERIOD/2);

	//Write motor phases:
	TIM1->CCR1 = dutyU;
	TIM1->CCR2 = dutyV;
	TIM1->CCR3 = dutyW;

	HAL_GPIO_WritePin(PWM_EN_U_GPIO_Port, PWM_EN_U_Pin, GPIO_PIN_RESET);
	HAL_GPIO_WritePin(PWM_EN_V_GPIO_Port, PWM_EN_V_Pin, GPIO_PIN_RESET);
	HAL_GPIO_WritePin(PWM_EN_W_GPIO_Port, PWM_EN_W_Pin, GPIO_PIN_RESET);
	//HAL_GPIO_WritePin(DIAG_EN_GPIO_Port, DIAG_EN_Pin, GPIO_PIN_RESET);
}

void motor_error(void) {
	duty = 0;
	//motor_set_duty();

	HAL_GPIO_WritePin(PWM_EN_U_GPIO_Port, PWM_EN_U_Pin, GPIO_PIN_RESET);
	HAL_GPIO_WritePin(PWM_EN_V_GPIO_Port, PWM_EN_V_Pin, GPIO_PIN_RESET);
	HAL_GPIO_WritePin(PWM_EN_W_GPIO_Port, PWM_EN_W_Pin, GPIO_PIN_RESET);
	//HAL_GPIO_WritePin(DIAG_EN_GPIO_Port, DIAG_EN_Pin, GPIO_PIN_RESET);
}

/* USER CODE END 0 */

int main(void)
{

  /* MCU Configuration--------------------------------------------------------*/

  /* Reset of all peripherals, Initializes the Flash interface and the Systick. */
  HAL_Init();

  /* Configure the system clock */
  SystemClock_Config();

  /* Initialize all configured peripherals */
  MX_GPIO_Init();
  MX_TIM1_Init();
  MX_USART2_UART_Init();
  MX_ADC1_Init();
  MX_TIM2_Init();
  MX_DAC_Init();
  MX_TIM6_Init();
  /* USER CODE BEGIN 2 */

 // HAL_TIM_Base_Start_IT(&htim2); //this is so that the HAL_TIM_PeriodElapsedCallback event fires (otherwise it doesn't)
  HAL_TIM_Encoder_Start(&htim2, TIM_CHANNEL_ALL); //timer2 tracks encoder ticks and stores the values in TIM2->CNT (values will range from 0 to 3200, and either inc/dec depending on direction of rotation)

  HAL_TIM_PWM_Start(&htim1, TIM_CHANNEL_1);
  HAL_TIM_PWM_Start(&htim1, TIM_CHANNEL_2);
  HAL_TIM_PWM_Start(&htim1, TIM_CHANNEL_3);

  HAL_ADCEx_Calibration_Start(&hadc1, ADC_SINGLE_ENDED);
//  int cal_value = HAL_ADCEx_Calibration_GetValue(&hadc1, ADC_SINGLE_ENDED);
  HAL_ADCEx_InjectedStart_IT(&hadc1);

  HAL_TIM_Base_Start_IT(&htim1);
//  //outer FOC loop interupt trigger
//  HAL_TIM_Base_Start_IT(&htim6);
  /* USER CODE END 2 */

  /* Infinite loop */
  /* USER CODE BEGIN WHILE */
  //run motor for about 10s
//  TorqueCal();

  MOTOR_MODE = INIT;
  motor_enable();
  motor_current_cal();
 // current_meas();
//  MOTOR_MODE = STOPPED;
//  motor_disable();

  while (1)
  {
    /* USER CODE END WHILE */

  }
}

void SystemClock_Config(void)
{
  RCC_OscInitTypeDef RCC_OscInitStruct = {0};
  RCC_ClkInitTypeDef RCC_ClkInitStruct = {0};
  RCC_PeriphCLKInitTypeDef PeriphClkInit = {0};

  /** Initializes the RCC Oscillators according to the specified parameters
  * in the RCC_OscInitTypeDef structure.
  */
  RCC_OscInitStruct.OscillatorType = RCC_OSCILLATORTYPE_HSE;
  RCC_OscInitStruct.HSEState = RCC_HSE_ON;
  RCC_OscInitStruct.HSEPredivValue = RCC_HSE_PREDIV_DIV1;
  RCC_OscInitStruct.HSIState = RCC_HSI_ON;
  RCC_OscInitStruct.PLL.PLLState = RCC_PLL_ON;
  RCC_OscInitStruct.PLL.PLLSource = RCC_PLLSOURCE_HSE;
  RCC_OscInitStruct.PLL.PLLMUL = RCC_PLL_MUL9;
  if (HAL_RCC_OscConfig(&RCC_OscInitStruct) != HAL_OK)
  {
    Error_Handler();
  }
  /** Initializes the CPU, AHB and APB buses clocks
  */
  RCC_ClkInitStruct.ClockType = RCC_CLOCKTYPE_HCLK|RCC_CLOCKTYPE_SYSCLK
                              |RCC_CLOCKTYPE_PCLK1|RCC_CLOCKTYPE_PCLK2;
  RCC_ClkInitStruct.SYSCLKSource = RCC_SYSCLKSOURCE_PLLCLK;
  RCC_ClkInitStruct.AHBCLKDivider = RCC_SYSCLK_DIV1;
  RCC_ClkInitStruct.APB1CLKDivider = RCC_HCLK_DIV2;
  RCC_ClkInitStruct.APB2CLKDivider = RCC_HCLK_DIV1;

  if (HAL_RCC_ClockConfig(&RCC_ClkInitStruct, FLASH_LATENCY_2) != HAL_OK)
  {
    Error_Handler();
  }
  PeriphClkInit.PeriphClockSelection = RCC_PERIPHCLK_TIM1;
  PeriphClkInit.Tim1ClockSelection = RCC_TIM1CLK_HCLK;
  if (HAL_RCCEx_PeriphCLKConfig(&PeriphClkInit) != HAL_OK)
  {
    Error_Handler();
  }
}

static void MX_ADC1_Init(void)
{

  ADC_InjectionConfTypeDef sConfigInjected = {0};

  /** Common config
  */
  hadc1.Instance = ADC1;
  hadc1.Init.ClockPrescaler = ADC_CLOCK_SYNC_PCLK_DIV1;
  hadc1.Init.Resolution = ADC_RESOLUTION_12B;
  hadc1.Init.ScanConvMode = ADC_SCAN_ENABLE;
  hadc1.Init.ContinuousConvMode = DISABLE;
  hadc1.Init.DiscontinuousConvMode = DISABLE;
  hadc1.Init.DataAlign = ADC_DATAALIGN_LEFT;
  hadc1.Init.NbrOfConversion = 1;
  hadc1.Init.DMAContinuousRequests = DISABLE;
  hadc1.Init.EOCSelection = ADC_EOC_SEQ_CONV;
  hadc1.Init.LowPowerAutoWait = DISABLE;
  hadc1.Init.Overrun = ADC_OVR_DATA_PRESERVED;
  if (HAL_ADC_Init(&hadc1) != HAL_OK)
  {
    Error_Handler();
  }
  /** Configure Injected Channel
  */
  sConfigInjected.InjectedChannel = ADC_CHANNEL_1;
  sConfigInjected.InjectedRank = ADC_INJECTED_RANK_1;
  sConfigInjected.InjectedSingleDiff = ADC_SINGLE_ENDED;
  sConfigInjected.InjectedNbrOfConversion = 3;
  sConfigInjected.InjectedSamplingTime = ADC_SAMPLETIME_19CYCLES_5;
  sConfigInjected.ExternalTrigInjecConvEdge = ADC_EXTERNALTRIGINJECCONV_EDGE_RISING;
  sConfigInjected.ExternalTrigInjecConv = ADC_EXTERNALTRIGINJECCONV_T1_TRGO;
  sConfigInjected.AutoInjectedConv = DISABLE;
  sConfigInjected.InjectedDiscontinuousConvMode = DISABLE;
  sConfigInjected.QueueInjectedContext = DISABLE;
  sConfigInjected.InjectedOffset = 0;
  sConfigInjected.InjectedOffsetNumber = ADC_OFFSET_NONE;
  if (HAL_ADCEx_InjectedConfigChannel(&hadc1, &sConfigInjected) != HAL_OK)
  {
    Error_Handler();
  }
  /** Configure Injected Channel
  */
  sConfigInjected.InjectedChannel = ADC_CHANNEL_7;
  sConfigInjected.InjectedRank = ADC_INJECTED_RANK_2;
  if (HAL_ADCEx_InjectedConfigChannel(&hadc1, &sConfigInjected) != HAL_OK)
  {
    Error_Handler();
  }
  /** Configure Injected Channel
  */
  sConfigInjected.InjectedChannel = ADC_CHANNEL_6;
  sConfigInjected.InjectedRank = ADC_INJECTED_RANK_3;
  if (HAL_ADCEx_InjectedConfigChannel(&hadc1, &sConfigInjected) != HAL_OK)
  {
    Error_Handler();
  }

}

static void MX_DAC_Init(void)
{

  DAC_ChannelConfTypeDef sConfig = {0};

  /** DAC Initialization
  */
  hdac.Instance = DAC;
  if (HAL_DAC_Init(&hdac) != HAL_OK)
  {
    Error_Handler();
  }
  /** DAC channel OUT1 config
  */
  sConfig.DAC_Trigger = DAC_TRIGGER_SOFTWARE;
  sConfig.DAC_OutputBuffer = DAC_OUTPUTBUFFER_DISABLE;
  if (HAL_DAC_ConfigChannel(&hdac, &sConfig, DAC_CHANNEL_1) != HAL_OK)
  {
    Error_Handler();
  }

}

static void MX_TIM1_Init(void)
{

  TIM_SlaveConfigTypeDef sSlaveConfig = {0};
  TIM_MasterConfigTypeDef sMasterConfig = {0};
  TIM_OC_InitTypeDef sConfigOC = {0};
  TIM_BreakDeadTimeConfigTypeDef sBreakDeadTimeConfig = {0};

  /* USER CODE BEGIN TIM1_Init 1 */
  htim1.Init.Period = USER_TIM_PERIOD;
  /* USER CODE END TIM1_Init 1 */
  htim1.Instance = TIM1;
  htim1.Init.Prescaler = 0;
  htim1.Init.CounterMode = TIM_COUNTERMODE_CENTERALIGNED1;
  htim1.Init.Period = 1200;
  htim1.Init.ClockDivision = TIM_CLOCKDIVISION_DIV1;
  htim1.Init.RepetitionCounter = 1;
  htim1.Init.AutoReloadPreload = TIM_AUTORELOAD_PRELOAD_DISABLE;
  if (HAL_TIM_Base_Init(&htim1) != HAL_OK)
  {
    Error_Handler();
  }
  if (HAL_TIM_PWM_Init(&htim1) != HAL_OK)
  {
    Error_Handler();
  }
  sSlaveConfig.SlaveMode = TIM_SLAVEMODE_TRIGGER;
  sSlaveConfig.InputTrigger = TIM_TS_ITR1;
  if (HAL_TIM_SlaveConfigSynchro(&htim1, &sSlaveConfig) != HAL_OK)
  {
    Error_Handler();
  }
  sMasterConfig.MasterOutputTrigger = TIM_TRGO_OC4REF;
  sMasterConfig.MasterOutputTrigger2 = TIM_TRGO2_RESET;
  sMasterConfig.MasterSlaveMode = TIM_MASTERSLAVEMODE_DISABLE;
  if (HAL_TIMEx_MasterConfigSynchronization(&htim1, &sMasterConfig) != HAL_OK)
  {
    Error_Handler();
  }
  sConfigOC.OCMode = TIM_OCMODE_PWM1;
  sConfigOC.Pulse = 1200;
  sConfigOC.OCPolarity = TIM_OCPOLARITY_HIGH;
  sConfigOC.OCNPolarity = TIM_OCNPOLARITY_HIGH;
  sConfigOC.OCFastMode = TIM_OCFAST_DISABLE;
  sConfigOC.OCIdleState = TIM_OCIDLESTATE_RESET;
  sConfigOC.OCNIdleState = TIM_OCNIDLESTATE_RESET;
  if (HAL_TIM_PWM_ConfigChannel(&htim1, &sConfigOC, TIM_CHANNEL_1) != HAL_OK)
  {
    Error_Handler();
  }
  if (HAL_TIM_PWM_ConfigChannel(&htim1, &sConfigOC, TIM_CHANNEL_2) != HAL_OK)
  {
    Error_Handler();
  }
  if (HAL_TIM_PWM_ConfigChannel(&htim1, &sConfigOC, TIM_CHANNEL_3) != HAL_OK)
  {
    Error_Handler();
  }
  sConfigOC.OCMode = TIM_OCMODE_PWM2;
  sConfigOC.Pulse = 1199;
  if (HAL_TIM_PWM_ConfigChannel(&htim1, &sConfigOC, TIM_CHANNEL_4) != HAL_OK)
  {
    Error_Handler();
  }
  sBreakDeadTimeConfig.OffStateRunMode = TIM_OSSR_ENABLE;
  sBreakDeadTimeConfig.OffStateIDLEMode = TIM_OSSI_ENABLE;
  sBreakDeadTimeConfig.LockLevel = TIM_LOCKLEVEL_1;
  sBreakDeadTimeConfig.DeadTime = 0;
  sBreakDeadTimeConfig.BreakState = TIM_BREAK_DISABLE;
  sBreakDeadTimeConfig.BreakPolarity = TIM_BREAKPOLARITY_HIGH;
  sBreakDeadTimeConfig.BreakFilter = 0;
  sBreakDeadTimeConfig.Break2State = TIM_BREAK2_ENABLE;
  sBreakDeadTimeConfig.Break2Polarity = TIM_BREAK2POLARITY_LOW;
  sBreakDeadTimeConfig.Break2Filter = 7;
  sBreakDeadTimeConfig.AutomaticOutput = TIM_AUTOMATICOUTPUT_DISABLE;
  if (HAL_TIMEx_ConfigBreakDeadTime(&htim1, &sBreakDeadTimeConfig) != HAL_OK)
  {
    Error_Handler();
  }
  HAL_TIM_MspPostInit(&htim1);

}

static void MX_TIM2_Init(void)
{

  TIM_Encoder_InitTypeDef sConfig = {0};
  TIM_MasterConfigTypeDef sMasterConfig = {0};

  htim2.Instance = TIM2;
  htim2.Init.Prescaler = 0;
  htim2.Init.CounterMode = TIM_COUNTERMODE_UP;
  htim2.Init.Period = 3199;
  htim2.Init.ClockDivision = TIM_CLOCKDIVISION_DIV1;
  htim2.Init.AutoReloadPreload = TIM_AUTORELOAD_PRELOAD_ENABLE;
  sConfig.EncoderMode = TIM_ENCODERMODE_TI12;
  sConfig.IC1Polarity = TIM_ICPOLARITY_RISING;
  sConfig.IC1Selection = TIM_ICSELECTION_DIRECTTI;
  sConfig.IC1Prescaler = TIM_ICPSC_DIV1;
  sConfig.IC1Filter = 7;
  sConfig.IC2Polarity = TIM_ICPOLARITY_FALLING;
  sConfig.IC2Selection = TIM_ICSELECTION_DIRECTTI;
  sConfig.IC2Prescaler = TIM_ICPSC_DIV1;
  sConfig.IC2Filter = 7;
  if (HAL_TIM_Encoder_Init(&htim2, &sConfig) != HAL_OK)
  {
    Error_Handler();
  }
  sMasterConfig.MasterOutputTrigger = TIM_TRGO_RESET;
  sMasterConfig.MasterSlaveMode = TIM_MASTERSLAVEMODE_DISABLE;
  if (HAL_TIMEx_MasterConfigSynchronization(&htim2, &sMasterConfig) != HAL_OK)
  {
    Error_Handler();
  }

}

static void MX_TIM6_Init(void)
{

  TIM_MasterConfigTypeDef sMasterConfig = {0};

  htim6.Instance = TIM6;
  htim6.Init.Prescaler = 0;
  htim6.Init.CounterMode = TIM_COUNTERMODE_UP;
  htim6.Init.Period = 30000;
  htim6.Init.AutoReloadPreload = TIM_AUTORELOAD_PRELOAD_ENABLE;
  if (HAL_TIM_Base_Init(&htim6) != HAL_OK)
  {
    Error_Handler();
  }
  sMasterConfig.MasterOutputTrigger = TIM_TRGO_RESET;
  sMasterConfig.MasterSlaveMode = TIM_MASTERSLAVEMODE_DISABLE;
  if (HAL_TIMEx_MasterConfigSynchronization(&htim6, &sMasterConfig) != HAL_OK)
  {
    Error_Handler();
  }

}

static void MX_USART2_UART_Init(void)
{

  huart2.Instance = USART2;
  huart2.Init.BaudRate = 115200;
  huart2.Init.WordLength = UART_WORDLENGTH_8B;
  huart2.Init.StopBits = UART_STOPBITS_1;
  huart2.Init.Parity = UART_PARITY_NONE;
  huart2.Init.Mode = UART_MODE_TX_RX;
  huart2.Init.HwFlowCtl = UART_HWCONTROL_NONE;
  huart2.Init.OverSampling = UART_OVERSAMPLING_16;
  huart2.Init.OneBitSampling = UART_ONE_BIT_SAMPLE_DISABLE;
  huart2.AdvancedInit.AdvFeatureInit = UART_ADVFEATURE_NO_INIT;
  if (HAL_UART_Init(&huart2) != HAL_OK)
  {
    Error_Handler();
  }

}

static void MX_GPIO_Init(void)
{
  GPIO_InitTypeDef GPIO_InitStruct = {0};

  /* GPIO Ports Clock Enable */
  __HAL_RCC_GPIOC_CLK_ENABLE();
  __HAL_RCC_GPIOF_CLK_ENABLE();
  __HAL_RCC_GPIOA_CLK_ENABLE();
  __HAL_RCC_GPIOB_CLK_ENABLE();

  /*Configure GPIO pin Output Level */
  HAL_GPIO_WritePin(GPIOB, PB2_LED_Pin|LD2_Pin, GPIO_PIN_RESET);

  /*Configure GPIO pin Output Level */
  HAL_GPIO_WritePin(GPIOC, PWM_EN_U_Pin|PWM_EN_V_Pin|PWM_EN_W_Pin, GPIO_PIN_RESET);

  /*Configure GPIO pin : B1_Pin */
  GPIO_InitStruct.Pin = B1_Pin;
  GPIO_InitStruct.Mode = GPIO_MODE_IT_FALLING;
  GPIO_InitStruct.Pull = GPIO_NOPULL;
  HAL_GPIO_Init(B1_GPIO_Port, &GPIO_InitStruct);

  /*Configure GPIO pins : PB2_LED_Pin LD2_Pin */
  GPIO_InitStruct.Pin = PB2_LED_Pin|LD2_Pin;
  GPIO_InitStruct.Mode = GPIO_MODE_OUTPUT_PP;
  GPIO_InitStruct.Pull = GPIO_NOPULL;
  GPIO_InitStruct.Speed = GPIO_SPEED_FREQ_LOW;
  HAL_GPIO_Init(GPIOB, &GPIO_InitStruct);

  /*Configure GPIO pins : HALL_Yellow_Pin HALL_Green_Pin HALL_Blue_Pin */
  GPIO_InitStruct.Pin = HALL_Yellow_Pin|HALL_Green_Pin|HALL_Blue_Pin;
  GPIO_InitStruct.Mode = GPIO_MODE_IT_RISING_FALLING;
  GPIO_InitStruct.Pull = GPIO_NOPULL;
  HAL_GPIO_Init(GPIOB, &GPIO_InitStruct);

  /*Configure GPIO pins : PWM_EN_U_Pin PWM_EN_V_Pin PWM_EN_W_Pin */
  GPIO_InitStruct.Pin = PWM_EN_U_Pin|PWM_EN_V_Pin|PWM_EN_W_Pin;
  GPIO_InitStruct.Mode = GPIO_MODE_OUTPUT_PP;
  GPIO_InitStruct.Pull = GPIO_NOPULL;
  GPIO_InitStruct.Speed = GPIO_SPEED_FREQ_HIGH;
  HAL_GPIO_Init(GPIOC, &GPIO_InitStruct);

  /* EXTI interrupt init*/
  HAL_NVIC_SetPriority(EXTI15_10_IRQn, 0, 0);
  HAL_NVIC_EnableIRQ(EXTI15_10_IRQn);

}

/* USER CODE BEGIN 4 */
/* USER CODE BEGIN 4 */
/**
  * @brief NVIC Configuration.
  * @retval None
  */
//static void MX_NVIC_Init(void)
//{
//  /* TIM1_BRK_TIM15_IRQn interrupt configuration */
//  HAL_NVIC_SetPriority(TIM1_BRK_TIM15_IRQn, 4, 1);
//  HAL_NVIC_EnableIRQ(TIM1_BRK_TIM15_IRQn);
//  /* TIM1_UP_TIM16_IRQn interrupt configuration */
//  HAL_NVIC_SetPriority(TIM1_UP_TIM16_IRQn, 0, 0);
//  HAL_NVIC_EnableIRQ(TIM1_UP_TIM16_IRQn);
//  /* TIM1_TRG_COM_TIM17_IRQHandler */
//  HAL_NVIC_SetPriority(TIM1_TRG_COM_TIM17_IRQn, 0, 0);
//  HAL_NVIC_EnableIRQ(TIM1_TRG_COM_TIM17_IRQn);
//  /* ADC1_IRQn interrupt configuration */
//  HAL_NVIC_SetPriority(ADC1_IRQn, 2, 0);
//  HAL_NVIC_EnableIRQ(ADC1_IRQn);
//  /* TIM2_IRQn interrupt configuration */
//  HAL_NVIC_SetPriority(TIM2_IRQn, 3, 0);
//  HAL_NVIC_EnableIRQ(TIM2_IRQn);
//  /* USART2_IRQn interrupt configuration */
//  HAL_NVIC_SetPriority(USART2_IRQn, 3, 1);
//  HAL_NVIC_EnableIRQ(USART2_IRQn);
//  /* EXTI15_10_IRQn interrupt configuration */
//  HAL_NVIC_SetPriority(EXTI15_10_IRQn, 3, 0);
//  HAL_NVIC_EnableIRQ(EXTI15_10_IRQn);
//}

//void HAL_TIM_PulseFinishedCallback(TIM_HandleTypeDef* htim) {
//void HAL_TIM_OC_DelayElapsedCallback(TIM_HandleTypeDef* htim) {
//void HAL_TIM_PWM_PulseFinishedCallback(TIM_HandleTypeDef* htim) {
//	if (htim->Instance == htim17.Instance) {// && htim->Channel == HAL_TIM_ACTIVE_CHANNEL_4 ){
//		HAL_GPIO_TogglePin(PB2_LED_GPIO_Port, PB2_LED_Pin);
//	}
//	else {
//		//WTF
//		//call error handler
//	}
//}

void HAL_ADCEx_InjectedConvCpltCallback(ADC_HandleTypeDef* hadc)
{
//	HAL_GPIO_TogglePin(PB2_LED_GPIO_Port, PB2_LED_Pin);
	cur1 = HAL_ADCEx_InjectedGetValue(hadc, ADC_INJECTED_RANK_1);
	cur2 = HAL_ADCEx_InjectedGetValue(hadc, ADC_INJECTED_RANK_2);
	cur3 = HAL_ADCEx_InjectedGetValue(hadc, ADC_INJECTED_RANK_3);
	current_meas();
//	HAL_GPIO_TogglePin(PB2_LED_GPIO_Port, PB2_LED_Pin);
}

void HAL_TIM_PeriodElapsedCallback(TIM_HandleTypeDef* htim)
{
//   if (htim->Instance == htim2.Instance) { //encoder should have tracked 3200 increments
//	   encoder_time = HAL_GetTick();
//	   encoder_ticks = TIM2->CNT;
//	   encoder_rotations += 1;
//	}
//	if (htim->Channel == HAL_TIM_ACTIVE_CHANNEL_5) {
//		HAL_GPIO_TogglePin(PB2_LED_GPIO_Port, PB2_LED_Pin);
//	}
//	if (htim->Instance == htim6.Instance) {
//		HAL_GPIO_TogglePin(PB2_LED_GPIO_Port, PB2_LED_Pin);
//	}
	if (htim->Instance == htim1.Instance) { //i.e. the interrupt is coming from TIM1 (30kHz) then...
		if (MOTOR_MODE == TRACKING) {
			//motor_move();
			motor_move_foc();
		}
	}

}

//void HAL_TIM_PeriodElapsedCallback(TIM_HandleTypeDef* htim)
//{
//	if (htim == htim1) {
//		HAL_GPIO_TogglePin(PB2_LED_GPIO_Port, PB2_LED_Pin);
//	}
//	else {
//	//HAL_GPIO_TogglePin(PB2_LED_GPIO_Port, PB2_LED_Pin);
//	if (fabs(encoder_count) >= fabs(lookup_encoder_pos[LEN])) {
//		MOTOR_MODE = STOPPED;
//		motor_disable();
//		return;
//	}
//    if (MOTOR_MODE == DOING) {
//    	track_to_encoder_position_list();
//    }
////    else {
////    	motor_disable();
////    }
//	}
//}

//logic see here --> http://yuandenghub.com/wp-content/uploads/2018/07/NI-Encoder-Tutorial-7109-en.pdf
//leaving this code commented out here to demonstrate how to identify which GPIO pin an interrupt was triggered from for future reference.
//void HAL_GPIO_EXTI_Callback(uint16_t GPIO_Pin) {
//	if (GPIO_Pin == PB3_EncB_Pin) { //PB3 - EncB
//		encB_stuff();
//	}
//	else if (GPIO_Pin == PA15_EncA_Pin) { //PA15 - EncA
//		encA_stuff();
//	}
//}

////implementing a GPIO_EXTI callback function to service HALL sensor triggers on pins: PB11, PB12, PB14
//void HAL_GPIO_EXTI_Callback(uint16_t GPIO_Pin) { //triggers on a rising/falling edge of one of three hall sensor pins
//	//see here for encoding from hall sensor values to S1-S6: https://www.digikey.com.au/en/blog/using-bldc-hall-sensors-as-position-encoders-part-1
//	char y = -1;
//	char b = -1;
//	char g = -1;
//
//	y = HAL_GPIO_ReadPin(HALL_Yellow_GPIO_Port, HALL_Yellow_Pin);
//	b = HAL_GPIO_ReadPin(HALL_Blue_GPIO_Port, HALL_Blue_Pin);
//	g = HAL_GPIO_ReadPin(HALL_Green_GPIO_Port, HALL_Green_Pin);
//
//	if (b == GPIO_PIN_RESET && y == GPIO_PIN_RESET && g == GPIO_PIN_SET) {
//		hall_state = S1;
//		if (MOTOR_MODE == INIT) {
//			TIM2->CNT = 0;
//			MOTOR_MODE = TRACKING;
//		}
//	}
//	else if (b == GPIO_PIN_RESET && y == GPIO_PIN_SET && g == GPIO_PIN_SET) {
//		hall_state = S2;
//	}
//	else if (b == GPIO_PIN_RESET && y == GPIO_PIN_SET && g == GPIO_PIN_RESET) {
//		hall_state = S3;
//	}
//	else if (b == GPIO_PIN_SET && y == GPIO_PIN_SET && g == GPIO_PIN_RESET) {
//		hall_state = S4;
//	}
//	else if (b == GPIO_PIN_SET && y == GPIO_PIN_RESET && g == GPIO_PIN_RESET) {
//		hall_state = S5;
//	}
//	else if (b == GPIO_PIN_SET && y == GPIO_PIN_RESET && g == GPIO_PIN_SET) {
//		hall_state = S6;
//	}
//	else {
//		hall_state = -1;
//		//WTF! put error handler here
//	}
//}

//void DMATransferComplete(DMA_HandleTypeDef* hdma) {
//	//Disable UART DMA mode
//	huart2.Instance->CR3 &= ~USART_CR3_DMAT;
//}

/* USER CODE END 4 */

void Error_Handler(void)
{
}

/************************ (C) COPYRIGHT STMicroelectronics *****END OF FILE****/
